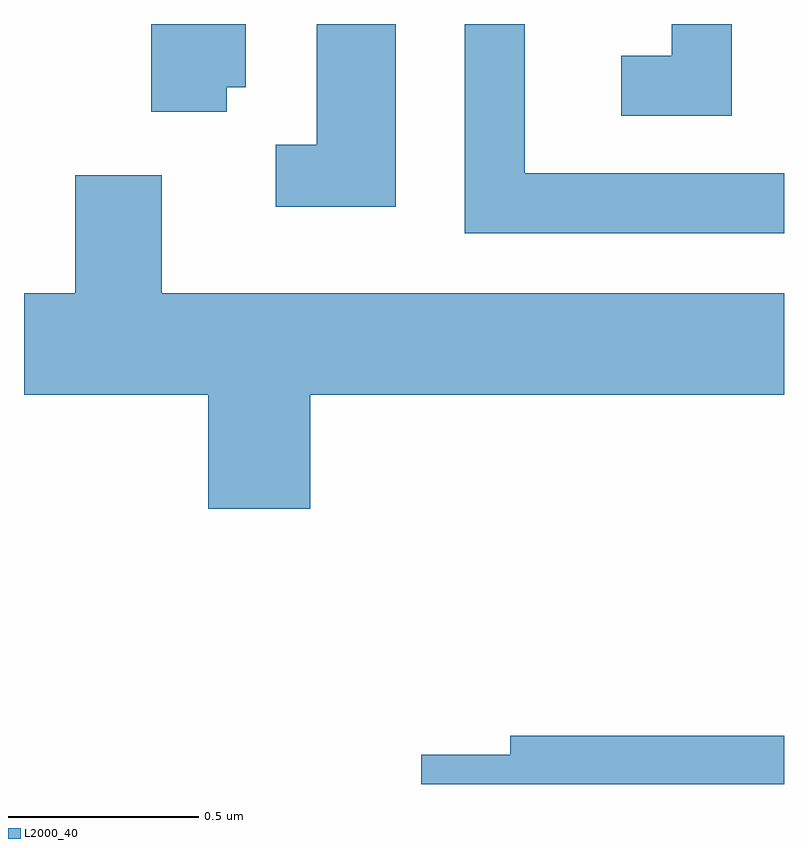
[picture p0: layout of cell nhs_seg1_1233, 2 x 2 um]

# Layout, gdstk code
import gdstk
lib = gdstk.Library(unit=1e-6, precision=1e-09)
def P(c, l, *ps):  # polygons
    for p in ps: c.add(gdstk.Polygon(p, *l))
L2000_40 = (2000, 40)

nhs_seg1_1233 = lib.new_cell('nhs_seg1_1233')
P(nhs_seg1_1233, L2000_40, [(195.589,851.712),(195.381,851.712),(195.381,851.394),(195.273,851.394),(195.273,851.231),(195.589,851.231)],
  [(195.144,851.546),(195.194,851.546),(195.194,851.712),(194.946,851.712),(194.946,851.481),(195.144,851.481)],
  [(196.611,851.319),(195.929,851.319),(195.929,851.712),(195.771,851.712),(195.771,851.161),(196.611,851.161)],
  [(196.474,851.712),(196.316,851.712),(196.316,851.629),(196.183,851.629),(196.183,851.471),(196.474,851.471)],
  [(195.364,850.736),(196.611,850.736),(196.611,851.004),(194.974,851.004),(194.974,851.314),(194.746,851.314),(194.746,851.004),(194.611,851.004),(194.611,850.736),(195.096,850.736),(195.096,850.436),(195.364,850.436)],
  [(196.611,849.839),(195.891,849.839),(195.891,849.789),(195.656,849.789),(195.656,849.712),(196.611,849.712)])

lib.write_gds('nhs_seg1_1233.gds')
